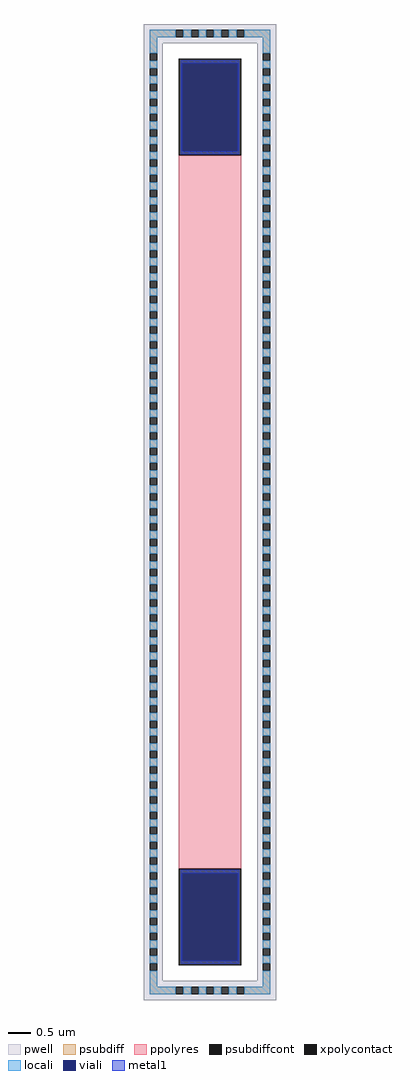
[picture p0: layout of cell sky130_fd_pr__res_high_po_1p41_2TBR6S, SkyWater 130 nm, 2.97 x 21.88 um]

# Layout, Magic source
magic
tech sky130A
magscale 1 2
<< pwell >>
rect -297 2102 297 2188
rect -297 -2102 -211 2102
rect 211 -2102 297 2102
rect -297 -2188 297 -2102
<< psubdiff >>
rect -271 2128 -153 2162
rect -119 2128 -85 2162
rect -51 2128 -17 2162
rect 17 2128 51 2162
rect 85 2128 119 2162
rect 153 2128 271 2162
rect -271 2057 -237 2128
rect 237 2057 271 2128
rect -271 1989 -237 2023
rect -271 1921 -237 1955
rect -271 1853 -237 1887
rect -271 1785 -237 1819
rect -271 1717 -237 1751
rect -271 1649 -237 1683
rect -271 1581 -237 1615
rect -271 1513 -237 1547
rect -271 1445 -237 1479
rect -271 1377 -237 1411
rect -271 1309 -237 1343
rect -271 1241 -237 1275
rect -271 1173 -237 1207
rect -271 1105 -237 1139
rect -271 1037 -237 1071
rect -271 969 -237 1003
rect -271 901 -237 935
rect -271 833 -237 867
rect -271 765 -237 799
rect -271 697 -237 731
rect -271 629 -237 663
rect -271 561 -237 595
rect -271 493 -237 527
rect -271 425 -237 459
rect -271 357 -237 391
rect -271 289 -237 323
rect -271 221 -237 255
rect -271 153 -237 187
rect -271 85 -237 119
rect -271 17 -237 51
rect -271 -51 -237 -17
rect -271 -119 -237 -85
rect -271 -187 -237 -153
rect -271 -255 -237 -221
rect -271 -323 -237 -289
rect -271 -391 -237 -357
rect -271 -459 -237 -425
rect -271 -527 -237 -493
rect -271 -595 -237 -561
rect -271 -663 -237 -629
rect -271 -731 -237 -697
rect -271 -799 -237 -765
rect -271 -867 -237 -833
rect -271 -935 -237 -901
rect -271 -1003 -237 -969
rect -271 -1071 -237 -1037
rect -271 -1139 -237 -1105
rect -271 -1207 -237 -1173
rect -271 -1275 -237 -1241
rect -271 -1343 -237 -1309
rect -271 -1411 -237 -1377
rect -271 -1479 -237 -1445
rect -271 -1547 -237 -1513
rect -271 -1615 -237 -1581
rect -271 -1683 -237 -1649
rect -271 -1751 -237 -1717
rect -271 -1819 -237 -1785
rect -271 -1887 -237 -1853
rect -271 -1955 -237 -1921
rect -271 -2023 -237 -1989
rect 237 1989 271 2023
rect 237 1921 271 1955
rect 237 1853 271 1887
rect 237 1785 271 1819
rect 237 1717 271 1751
rect 237 1649 271 1683
rect 237 1581 271 1615
rect 237 1513 271 1547
rect 237 1445 271 1479
rect 237 1377 271 1411
rect 237 1309 271 1343
rect 237 1241 271 1275
rect 237 1173 271 1207
rect 237 1105 271 1139
rect 237 1037 271 1071
rect 237 969 271 1003
rect 237 901 271 935
rect 237 833 271 867
rect 237 765 271 799
rect 237 697 271 731
rect 237 629 271 663
rect 237 561 271 595
rect 237 493 271 527
rect 237 425 271 459
rect 237 357 271 391
rect 237 289 271 323
rect 237 221 271 255
rect 237 153 271 187
rect 237 85 271 119
rect 237 17 271 51
rect 237 -51 271 -17
rect 237 -119 271 -85
rect 237 -187 271 -153
rect 237 -255 271 -221
rect 237 -323 271 -289
rect 237 -391 271 -357
rect 237 -459 271 -425
rect 237 -527 271 -493
rect 237 -595 271 -561
rect 237 -663 271 -629
rect 237 -731 271 -697
rect 237 -799 271 -765
rect 237 -867 271 -833
rect 237 -935 271 -901
rect 237 -1003 271 -969
rect 237 -1071 271 -1037
rect 237 -1139 271 -1105
rect 237 -1207 271 -1173
rect 237 -1275 271 -1241
rect 237 -1343 271 -1309
rect 237 -1411 271 -1377
rect 237 -1479 271 -1445
rect 237 -1547 271 -1513
rect 237 -1615 271 -1581
rect 237 -1683 271 -1649
rect 237 -1751 271 -1717
rect 237 -1819 271 -1785
rect 237 -1887 271 -1853
rect 237 -1955 271 -1921
rect 237 -2023 271 -1989
rect -271 -2128 -237 -2057
rect 237 -2128 271 -2057
rect -271 -2162 -153 -2128
rect -119 -2162 -85 -2128
rect -51 -2162 -17 -2128
rect 17 -2162 51 -2128
rect 85 -2162 119 -2128
rect 153 -2162 271 -2128
<< psubdiffcont >>
rect -153 2128 -119 2162
rect -85 2128 -51 2162
rect -17 2128 17 2162
rect 51 2128 85 2162
rect 119 2128 153 2162
rect -271 2023 -237 2057
rect -271 1955 -237 1989
rect -271 1887 -237 1921
rect -271 1819 -237 1853
rect -271 1751 -237 1785
rect -271 1683 -237 1717
rect -271 1615 -237 1649
rect -271 1547 -237 1581
rect -271 1479 -237 1513
rect -271 1411 -237 1445
rect -271 1343 -237 1377
rect -271 1275 -237 1309
rect -271 1207 -237 1241
rect -271 1139 -237 1173
rect -271 1071 -237 1105
rect -271 1003 -237 1037
rect -271 935 -237 969
rect -271 867 -237 901
rect -271 799 -237 833
rect -271 731 -237 765
rect -271 663 -237 697
rect -271 595 -237 629
rect -271 527 -237 561
rect -271 459 -237 493
rect -271 391 -237 425
rect -271 323 -237 357
rect -271 255 -237 289
rect -271 187 -237 221
rect -271 119 -237 153
rect -271 51 -237 85
rect -271 -17 -237 17
rect -271 -85 -237 -51
rect -271 -153 -237 -119
rect -271 -221 -237 -187
rect -271 -289 -237 -255
rect -271 -357 -237 -323
rect -271 -425 -237 -391
rect -271 -493 -237 -459
rect -271 -561 -237 -527
rect -271 -629 -237 -595
rect -271 -697 -237 -663
rect -271 -765 -237 -731
rect -271 -833 -237 -799
rect -271 -901 -237 -867
rect -271 -969 -237 -935
rect -271 -1037 -237 -1003
rect -271 -1105 -237 -1071
rect -271 -1173 -237 -1139
rect -271 -1241 -237 -1207
rect -271 -1309 -237 -1275
rect -271 -1377 -237 -1343
rect -271 -1445 -237 -1411
rect -271 -1513 -237 -1479
rect -271 -1581 -237 -1547
rect -271 -1649 -237 -1615
rect -271 -1717 -237 -1683
rect -271 -1785 -237 -1751
rect -271 -1853 -237 -1819
rect -271 -1921 -237 -1887
rect -271 -1989 -237 -1955
rect -271 -2057 -237 -2023
rect 237 2023 271 2057
rect 237 1955 271 1989
rect 237 1887 271 1921
rect 237 1819 271 1853
rect 237 1751 271 1785
rect 237 1683 271 1717
rect 237 1615 271 1649
rect 237 1547 271 1581
rect 237 1479 271 1513
rect 237 1411 271 1445
rect 237 1343 271 1377
rect 237 1275 271 1309
rect 237 1207 271 1241
rect 237 1139 271 1173
rect 237 1071 271 1105
rect 237 1003 271 1037
rect 237 935 271 969
rect 237 867 271 901
rect 237 799 271 833
rect 237 731 271 765
rect 237 663 271 697
rect 237 595 271 629
rect 237 527 271 561
rect 237 459 271 493
rect 237 391 271 425
rect 237 323 271 357
rect 237 255 271 289
rect 237 187 271 221
rect 237 119 271 153
rect 237 51 271 85
rect 237 -17 271 17
rect 237 -85 271 -51
rect 237 -153 271 -119
rect 237 -221 271 -187
rect 237 -289 271 -255
rect 237 -357 271 -323
rect 237 -425 271 -391
rect 237 -493 271 -459
rect 237 -561 271 -527
rect 237 -629 271 -595
rect 237 -697 271 -663
rect 237 -765 271 -731
rect 237 -833 271 -799
rect 237 -901 271 -867
rect 237 -969 271 -935
rect 237 -1037 271 -1003
rect 237 -1105 271 -1071
rect 237 -1173 271 -1139
rect 237 -1241 271 -1207
rect 237 -1309 271 -1275
rect 237 -1377 271 -1343
rect 237 -1445 271 -1411
rect 237 -1513 271 -1479
rect 237 -1581 271 -1547
rect 237 -1649 271 -1615
rect 237 -1717 271 -1683
rect 237 -1785 271 -1751
rect 237 -1853 271 -1819
rect 237 -1921 271 -1887
rect 237 -1989 271 -1955
rect 237 -2057 271 -2023
rect -153 -2162 -119 -2128
rect -85 -2162 -51 -2128
rect -17 -2162 17 -2128
rect 51 -2162 85 -2128
rect 119 -2162 153 -2128
<< xpolycontact >>
rect -141 1600 141 2032
rect -141 -2032 141 -1600
<< ppolyres >>
rect -141 -1600 141 1600
<< locali >>
rect -271 2128 -153 2162
rect -119 2128 -85 2162
rect -51 2128 -17 2162
rect 17 2128 51 2162
rect 85 2128 119 2162
rect 153 2128 271 2162
rect -271 2057 -237 2128
rect 237 2057 271 2128
rect -271 1989 -237 2023
rect -271 1921 -237 1955
rect -271 1853 -237 1887
rect -271 1785 -237 1819
rect -271 1717 -237 1751
rect -271 1649 -237 1683
rect -271 1581 -237 1615
rect 237 1989 271 2023
rect 237 1921 271 1955
rect 237 1853 271 1887
rect 237 1785 271 1819
rect 237 1717 271 1751
rect 237 1649 271 1683
rect -271 1513 -237 1547
rect -271 1445 -237 1479
rect -271 1377 -237 1411
rect -271 1309 -237 1343
rect -271 1241 -237 1275
rect -271 1173 -237 1207
rect -271 1105 -237 1139
rect -271 1037 -237 1071
rect -271 969 -237 1003
rect -271 901 -237 935
rect -271 833 -237 867
rect -271 765 -237 799
rect -271 697 -237 731
rect -271 629 -237 663
rect -271 561 -237 595
rect -271 493 -237 527
rect -271 425 -237 459
rect -271 357 -237 391
rect -271 289 -237 323
rect -271 221 -237 255
rect -271 153 -237 187
rect -271 85 -237 119
rect -271 17 -237 51
rect -271 -51 -237 -17
rect -271 -119 -237 -85
rect -271 -187 -237 -153
rect -271 -255 -237 -221
rect -271 -323 -237 -289
rect -271 -391 -237 -357
rect -271 -459 -237 -425
rect -271 -527 -237 -493
rect -271 -595 -237 -561
rect -271 -663 -237 -629
rect -271 -731 -237 -697
rect -271 -799 -237 -765
rect -271 -867 -237 -833
rect -271 -935 -237 -901
rect -271 -1003 -237 -969
rect -271 -1071 -237 -1037
rect -271 -1139 -237 -1105
rect -271 -1207 -237 -1173
rect -271 -1275 -237 -1241
rect -271 -1343 -237 -1309
rect -271 -1411 -237 -1377
rect -271 -1479 -237 -1445
rect -271 -1547 -237 -1513
rect -271 -1615 -237 -1581
rect 237 1581 271 1615
rect 237 1513 271 1547
rect 237 1445 271 1479
rect 237 1377 271 1411
rect 237 1309 271 1343
rect 237 1241 271 1275
rect 237 1173 271 1207
rect 237 1105 271 1139
rect 237 1037 271 1071
rect 237 969 271 1003
rect 237 901 271 935
rect 237 833 271 867
rect 237 765 271 799
rect 237 697 271 731
rect 237 629 271 663
rect 237 561 271 595
rect 237 493 271 527
rect 237 425 271 459
rect 237 357 271 391
rect 237 289 271 323
rect 237 221 271 255
rect 237 153 271 187
rect 237 85 271 119
rect 237 17 271 51
rect 237 -51 271 -17
rect 237 -119 271 -85
rect 237 -187 271 -153
rect 237 -255 271 -221
rect 237 -323 271 -289
rect 237 -391 271 -357
rect 237 -459 271 -425
rect 237 -527 271 -493
rect 237 -595 271 -561
rect 237 -663 271 -629
rect 237 -731 271 -697
rect 237 -799 271 -765
rect 237 -867 271 -833
rect 237 -935 271 -901
rect 237 -1003 271 -969
rect 237 -1071 271 -1037
rect 237 -1139 271 -1105
rect 237 -1207 271 -1173
rect 237 -1275 271 -1241
rect 237 -1343 271 -1309
rect 237 -1411 271 -1377
rect 237 -1479 271 -1445
rect 237 -1547 271 -1513
rect -271 -1683 -237 -1649
rect -271 -1751 -237 -1717
rect -271 -1819 -237 -1785
rect -271 -1887 -237 -1853
rect -271 -1955 -237 -1921
rect -271 -2023 -237 -1989
rect 237 -1615 271 -1581
rect 237 -1683 271 -1649
rect 237 -1751 271 -1717
rect 237 -1819 271 -1785
rect 237 -1887 271 -1853
rect 237 -1955 271 -1921
rect 237 -2023 271 -1989
rect -271 -2128 -237 -2057
rect 237 -2128 271 -2057
rect -271 -2162 -153 -2128
rect -119 -2162 -85 -2128
rect -51 -2162 -17 -2128
rect 17 -2162 51 -2128
rect 85 -2162 119 -2128
rect 153 -2162 271 -2128
<< viali >>
rect -125 1618 125 2012
rect -125 -2013 125 -1619
<< metal1 >>
rect -131 2012 131 2026
rect -131 1618 -125 2012
rect 125 1618 131 2012
rect -131 1605 131 1618
rect -131 -1619 131 -1605
rect -131 -2013 -125 -1619
rect 125 -2013 131 -1619
rect -131 -2026 131 -2013
<< properties >>
string FIXED_BBOX -254 -2145 254 2145
<< end >>
